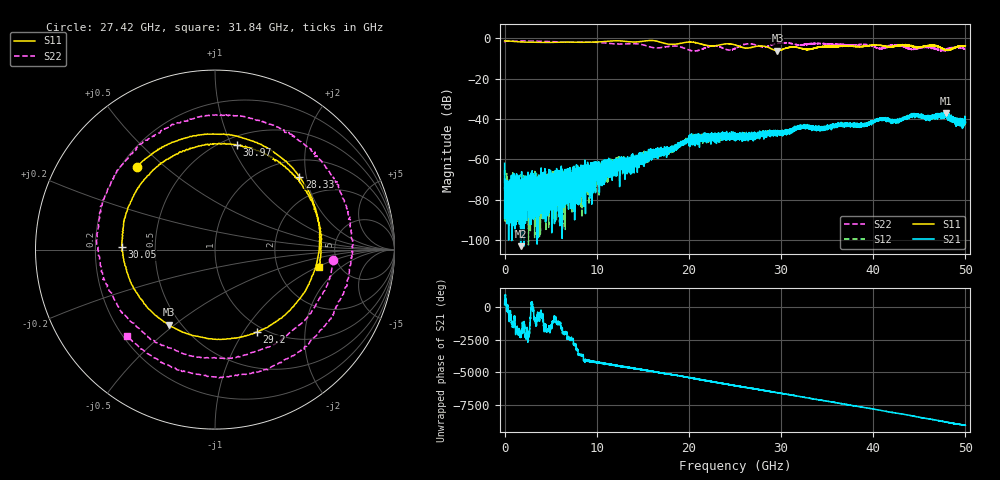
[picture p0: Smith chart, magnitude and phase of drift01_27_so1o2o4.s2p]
!Created with skrf (http://scikit-rf.org).
# Hz S RI R 50.0
!freq ReS11 ImS11 ReS21 ImS21 ReS12 ImS12 ReS22 ImS22
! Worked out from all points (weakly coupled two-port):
!   10001 points, 300 kHz to 50 GHz, reference 50 ohm
!   highest |S21| = -37.02 dB at 47.91 GHz (marker M1); lowest = -103.1 dB at 1.745 GHz (marker M2)
!   lowest |S11| = -6.2 dB at 29.61 GHz (marker M3), VSWR 2.93, Z = 21.6 - j23.7 ohm
!   |S11| at or under -10 dB: nowhere
!   |S22| runs from -6.5 to -1.4 dB; largest |S21 - S12| = 0.0042
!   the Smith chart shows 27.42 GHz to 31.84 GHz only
!   S11 on the Smith chart (normalised r, x): 27.42 GHz: 0.26, +0.41; 28.33 GHz: 1.38, +1.82; 29.2 GHz: 0.92, -1.15; 30.05 GHz: 0.32, +0.01; 30.97 GHz: 0.59, +1.05; 31.84 GHz: 3.52, -1.01
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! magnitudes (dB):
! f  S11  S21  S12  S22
! 300 kHz  -1.3  -62.1  -65.1  -2.1
! 255.3 MHz  -1.4  -79.7  -76.9  -1.4
! 1.745 GHz  -1.9  -103.1  -75.8  -1.4
! 5.605 GHz  -2.0  -76.5  -74.6  -1.7
! 8.335 GHz  -2.0  -73.5  -66.5  -1.8
! 16.67 GHz  -1.6  -57.4  -57.4  -4.8
! 20.18 GHz  -1.9  -49.5  -50.1  -6.1
! 22.62 GHz  -3.8  -49.5  -48.3  -3.8
! 25 GHz  -3.3  -46.8  -49.7  -5.1
! 27.42 GHz  -3.9  -48.6  -47.2  -3.6
! 28.33 GHz  -4.1  -47.9  -47.0  -4.3
! 29.2 GHz  -5.8  -47.3  -47.1  -3.1
! 29.61 GHz  -6.2  -47.4  -46.9  -2.5
! 30.05 GHz  -5.7  -47.4  -46.5  -2.3
! 30.97 GHz  -4.5  -45.9  -45.5  -2.5
! 31.84 GHz  -4.6  -45.2  -44.4  -3.3
! 33.34 GHz  -5.2  -44.4  -43.8  -2.7
! 41.67 GHz  -4.4  -39.7  -40.3  -4.3
! 44.51 GHz  -4.3  -38.2  -38.7  -5.5
! 46.49 GHz  -3.6  -38.6  -39.1  -5.1
! 47.91 GHz  -5.8  -37.0  -38.0  -5.2
! 50 GHz  -3.9  -41.5  -42.2  -5.3
